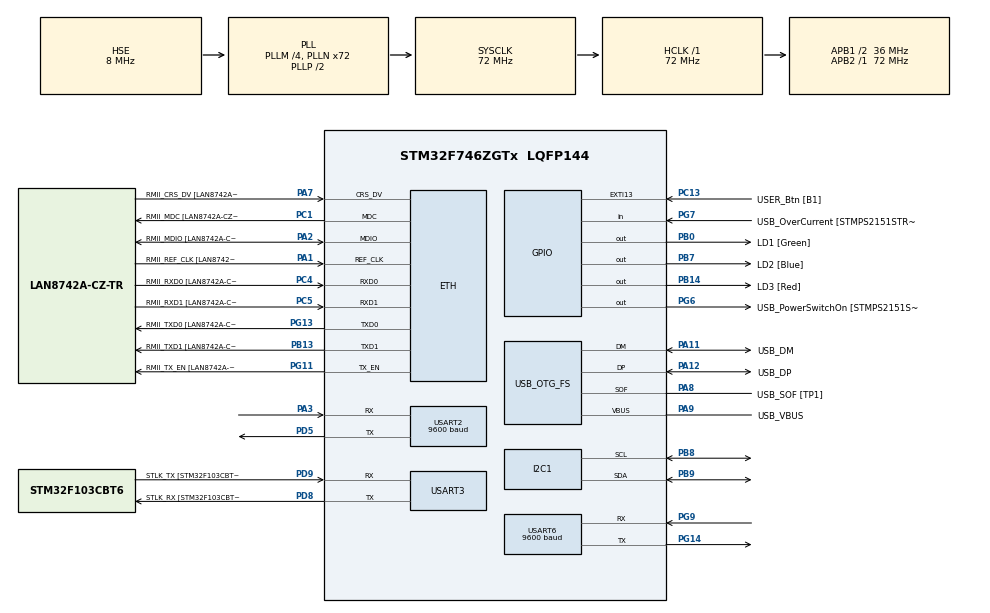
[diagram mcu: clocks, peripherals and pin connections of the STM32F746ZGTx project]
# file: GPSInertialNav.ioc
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CORTEX_M7.default_mode_Activation=1
ETH.MediaInterface=HAL_ETH_RMII_MODE
ETH.PHY_Name=LAN8742A_PHY_ADDRESS
ETH.PHY_Value=0
ETH.PhyAddress=0
I2C1.Timing=0x00808CD2
Mcu.Family=STM32F7
Mcu.Name=STM32F746ZGTx
Mcu.Package=LQFP144
NVIC.PriorityGroup=NVIC_PRIORITYGROUP_4
PA1.GPIO_Label=RMII_REF_CLK [LAN8742A-CZ-TR_REFCLK0]
PA1.Mode=RMII
PA1.Signal=ETH_REF_CLK
PA10.GPIO_Label=USB_ID
PA10.Signal=USB_OTG_FS_ID
PA11.GPIO_Label=USB_DM
PA11.Mode=Device_Only
PA11.Signal=USB_OTG_FS_DM
PA12.GPIO_Label=USB_DP
PA12.Mode=Device_Only
PA12.Signal=USB_OTG_FS_DP
PA13.GPIO_Label=TMS
PA13.Mode=Serial_Wire
PA13.Signal=SYS_JTMS-SWDIO
PA14.GPIO_Label=TCK
PA14.Mode=Serial_Wire
PA14.Signal=SYS_JTCK-SWCLK
PA2.GPIO_Label=RMII_MDIO [LAN8742A-CZ-TR_MDIO]
PA2.Mode=RMII
PA2.Signal=ETH_MDIO
PA3.Mode=Asynchronous
PA3.Signal=USART2_RX
PA7.GPIO_Label=RMII_CRS_DV [LAN8742A-CZ-TR_CRS_DV]
PA7.Mode=RMII
PA7.Signal=ETH_CRS_DV
PA8.GPIO_Label=USB_SOF [TP1]
PA8.Mode=Activate_SOF_FS
PA8.Signal=USB_OTG_FS_SOF
PA9.GPIO_Label=USB_VBUS
PA9.Mode=Activate_VBUS
PA9.Signal=USB_OTG_FS_VBUS
PB0.GPIO_Label=LD1 [Green]
PB0.Signal=GPIO_Output
PB13.GPIO_Label=RMII_TXD1 [LAN8742A-CZ-TR_TXD1]
PB13.Mode=RMII
PB13.Signal=ETH_TXD1
PB14.GPIO_Label=LD3 [Red]
PB14.Signal=GPIO_Output
PB3.GPIO_Label=SW0
PB3.Signal=SYS_JTDO-SWO
PB7.GPIO_Label=LD2 [Blue]
PB7.Signal=GPIO_Output
PB8.Mode=I2C
PB8.Signal=I2C1_SCL
PB9.Mode=I2C
PB9.Signal=I2C1_SDA
PC1.GPIO_Label=RMII_MDC [LAN8742A-CZ-TR_MDC]
PC1.Mode=RMII
PC1.Signal=ETH_MDC
PC13.GPIO_Label=USER_Btn [B1]
PC13.Signal=GPXTI13
PC14/OSC32_IN.Mode=LSE-External-Oscillator
PC14/OSC32_IN.Signal=RCC_OSC32_IN
PC15/OSC32_OUT.Mode=LSE-External-Oscillator
PC15/OSC32_OUT.Signal=RCC_OSC32_OUT
PC4.GPIO_Label=RMII_RXD0 [LAN8742A-CZ-TR_RXD0]
PC4.Mode=RMII
PC4.Signal=ETH_RXD0
PC5.GPIO_Label=RMII_RXD1 [LAN8742A-CZ-TR_RXD1]
PC5.Mode=RMII
PC5.Signal=ETH_RXD1
PD5.Mode=Asynchronous
PD5.Signal=USART2_TX
PD8.GPIO_Label=STLK_RX [STM32F103CBT6_PA3]
PD8.GPIO_PuPd=GPIO_PULLUP
PD8.Mode=Asynchronous
PD8.Signal=USART3_TX
PD9.GPIO_Label=STLK_TX [STM32F103CBT6_PA2]
PD9.GPIO_PuPd=GPIO_PULLUP
PD9.Mode=Asynchronous
PD9.Signal=USART3_RX
PG11.GPIO_Label=RMII_TX_EN [LAN8742A-CZ-TR_TXEN]
PG11.Mode=RMII
PG11.Signal=ETH_TX_EN
PG13.GPIO_Label=RMII_TXD0 [LAN8742A-CZ-TR_TXD0]
PG13.Mode=RMII
PG13.Signal=ETH_TXD0
PG14.Mode=Asynchronous
PG14.Signal=USART6_TX
PG6.GPIO_Label=USB_PowerSwitchOn [STMPS2151STR_EN]
PG6.Signal=GPIO_Output
PG7.GPIO_Label=USB_OverCurrent [STMPS2151STR_FAULT]
PG7.Signal=GPIO_Input
PG9.Mode=Asynchronous
PG9.Signal=USART6_RX
PH0/OSC_IN.GPIO_Label=MCO [STM32F103CBT6_PA8]
PH0/OSC_IN.Mode=HSE-External-Clock-Source
PH0/OSC_IN.Signal=RCC_OSC_IN
PH1/OSC_OUT.Mode=HSE-External-Clock-Source
PH1/OSC_OUT.Signal=RCC_OSC_OUT
ProjectManager.HeapSize=0x200
ProjectManager.StackSize=0x400
ProjectManager.TargetToolchain=STM32CubeIDE
RCC.48MHZClocksFreq_Value=24000000
RCC.AHBFreq_Value=72000000
RCC.APB1CLKDivider=RCC_HCLK_DIV2
RCC.APB1Freq_Value=36000000
RCC.APB1TimFreq_Value=72000000
RCC.APB2Freq_Value=72000000
RCC.APB2TimFreq_Value=72000000
RCC.CortexFreq_Value=72000000
RCC.HCLKFreq_Value=72000000
RCC.HSE_VALUE=8000000
RCC.HSI_VALUE=16000000
RCC.PLLM=4
RCC.PLLMUL=RCC_PLL_MUL9
RCC.PLLN=72
RCC.PLLQ=3
RCC.PRESCALERUSB=RCC_USBCLKSOURCE_PLL_DIV1_5
RCC.SYSCLKFreq_VALUE=72000000
RCC.SYSCLKSource=RCC_SYSCLKSOURCE_PLLCLK
RCC.SYSCLKSourceVirtual=RCC_SYSCLKSOURCE_PLLCLK
RCC.USBFreq_Value=48000000
RCC.VCOOutputFreq_Value=144000000
USART2.BaudRate=9600
USART2.VirtualMode-Asynchronous=VM_ASYNC
USART3.VirtualMode-Asynchronous=VM_ASYNC
USART6.BaudRate=9600
USART6.VirtualMode-Asynchronous=VM_ASYNC
USB_OTG_FS.VirtualMode=Device_Only
board=NUCLEO-F746ZG

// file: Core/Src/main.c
/* USER CODE BEGIN Header */
/**
  ******************************************************************************
  * @file           : main.c
  * @brief          : Main program body
  ******************************************************************************
  * @attention
  *
  * Copyright (c) 2026 STMicroelectronics.
  * All rights reserved.
  *
  * This software is licensed under terms that can be found in the LICENSE file
  * in the root directory of this software component.
  * If no LICENSE file comes with this software, it is provided AS-IS.
  *
  ******************************************************************************
  */
/* USER CODE END Header */
#include "main.h"
#include "string.h"

#if defined ( __ICCARM__ ) /*!< IAR Compiler */
#pragma location=0x2004c000
ETH_DMADescTypeDef  DMARxDscrTab[ETH_RX_DESC_CNT]; /* Ethernet Rx DMA Descriptors */
#pragma location=0x2004c0a0
ETH_DMADescTypeDef  DMATxDscrTab[ETH_TX_DESC_CNT]; /* Ethernet Tx DMA Descriptors */

#elif defined ( __CC_ARM )  /* MDK ARM Compiler */

__attribute__((at(0x2004c000))) ETH_DMADescTypeDef  DMARxDscrTab[ETH_RX_DESC_CNT]; /* Ethernet Rx DMA Descriptors */
__attribute__((at(0x2004c0a0))) ETH_DMADescTypeDef  DMATxDscrTab[ETH_TX_DESC_CNT]; /* Ethernet Tx DMA Descriptors */

#elif defined ( __GNUC__ ) /* GNU Compiler */

ETH_DMADescTypeDef DMARxDscrTab[ETH_RX_DESC_CNT] __attribute__((section(".RxDecripSection"))); /* Ethernet Rx DMA Descriptors */
ETH_DMADescTypeDef DMATxDscrTab[ETH_TX_DESC_CNT] __attribute__((section(".TxDecripSection")));   /* Ethernet Tx DMA Descriptors */
#endif

ETH_TxPacketConfig TxConfig;

ETH_HandleTypeDef heth;

I2C_HandleTypeDef hi2c1;

UART_HandleTypeDef huart2;
UART_HandleTypeDef huart3;
UART_HandleTypeDef huart6;

PCD_HandleTypeDef hpcd_USB_OTG_FS;

void SystemClock_Config(void);
static void MPU_Config(void);
static void MX_GPIO_Init(void);
static void MX_ETH_Init(void);
static void MX_I2C1_Init(void);
static void MX_USART2_UART_Init(void);
static void MX_USART3_UART_Init(void);
static void MX_USB_OTG_FS_PCD_Init(void);
static void MX_USART6_UART_Init(void);

/* USER CODE BEGIN 0 */
#include <stdio.h>
#define MPU6050_ADDR (0x68 << 1)

extern UART_HandleTypeDef huart3; // Change 'huart2' to match your enabled UART instance

#ifdef __GNUC__
  #define PUTCHAR_PROTOTYPE int __io_putchar(int ch)
#else
  #define PUTCHAR_PROTOTYPE int fputc(int ch, FILE *f)
#endif

PUTCHAR_PROTOTYPE
{
  // Send 1 character over the hardware UART with a 10ms timeout
  HAL_UART_Transmit(&huart3, (uint8_t *)&ch, 1, 10);

  return ch;
}

typedef struct {
    float gyroX, gyroY, gyroZ;
} GyroCalibration;
GyroCalibration gyroCal;   // add this line

GyroCalibration calibrateMPU(void){
	float gyroX = 0;
	float gyroY = 0;
	float gyroZ = 0;
	uint8_t buffer[6];
	int16_t rawX, rawY, rawZ;
	for(int i = 0; i < 201;i++){
		HAL_I2C_Mem_Read(&hi2c1, MPU6050_ADDR, 0x43, 1, buffer, 6, 100);

		    rawX = (int16_t)(buffer[0] << 8 | buffer[1]);
		    rawY = (int16_t)(buffer[2] << 8 | buffer[3]);
		    rawZ = (int16_t)(buffer[4] << 8 | buffer[5]);
		    gyroX += rawX / 131.0f;
		    gyroY += rawY / 131.0f;
		    gyroZ += rawZ / 131.0f;
		    HAL_Delay(5);

	}
	GyroCalibration cal;
	cal.gyroX = gyroX / 201.0f;
	cal.gyroY = gyroY / 201.0f;
	cal.gyroZ = gyroZ / 201.0f;
	return cal;

}

void getGyro(){
	  uint8_t reg_gyroX_out_H = 0x43;
	  uint8_t gyroXBuffer[2];
	  int16_t rawGyroX;

	  uint8_t reg_gyroY_out_H = 0x45;
	  uint8_t gyroYBuffer[2];
	  int16_t rawGyroY;

	  uint8_t reg_gyroZ_out_H = 0x47;
	  uint8_t gyroZBuffer[2];
	  int16_t rawGyroZ;

		  //gyro
		  HAL_I2C_Mem_Read(&hi2c1,MPU6050_ADDR, reg_gyroX_out_H,1,gyroXBuffer,2,100);
		  HAL_I2C_Mem_Read(&hi2c1,MPU6050_ADDR, reg_gyroY_out_H,1,gyroYBuffer,2,100);
		  HAL_I2C_Mem_Read(&hi2c1,MPU6050_ADDR, reg_gyroZ_out_H,1,gyroZBuffer,2,100);
		  rawGyroX = (uint16_t)(gyroXBuffer[0]<<8|gyroXBuffer[1]);
		  rawGyroY = (uint16_t)(gyroYBuffer[0]<<8|gyroYBuffer[1]);
		  rawGyroZ = (uint16_t)(gyroZBuffer[0]<<8|gyroZBuffer[1]);
		  float gyro_X = rawGyroX / 131.0f - gyroCal.gyroX;
		  float gyro_Y = rawGyroY / 131.0f - gyroCal.gyroY;
		  float gyro_Z = rawGyroZ / 131.0f - gyroCal.gyroZ;

		  printf("Gyro X: %f\r\n", gyro_X);
		  printf("Gyro Y: %f\r\n", gyro_Y);
		  printf("Gyro Z: %f\r\n", gyro_Z);
		  HAL_Delay(100);
}

void getAccel(){

	  uint8_t reg_accelX_out_H = 0x3B;
	  uint8_t accelXBuffer[2];
	  int16_t rawaccelX;

	  uint8_t reg_accelY_out_H = 0x3D;
	  uint8_t accelYBuffer[2];
	  int16_t rawaccelY;

	  uint8_t reg_accelZ_out_H = 0x3F;
	  uint8_t accelZBuffer[2];
	  int16_t rawaccelZ;
	  //setup rest of gyro

		  //accel
		  HAL_I2C_Mem_Read(&hi2c1,MPU6050_ADDR, reg_accelX_out_H,1,accelXBuffer,2,100);
		  HAL_I2C_Mem_Read(&hi2c1,MPU6050_ADDR, reg_accelY_out_H,1,accelYBuffer,2,100);
		  HAL_I2C_Mem_Read(&hi2c1,MPU6050_ADDR, reg_accelZ_out_H,1,accelZBuffer,2,100);
		  rawaccelX = (uint16_t)(accelXBuffer[0]<<8|accelXBuffer[1]);
		  rawaccelY = (uint16_t)(accelYBuffer[0]<<8|accelYBuffer[1]);
		  rawaccelZ = (uint16_t)(accelZBuffer[0]<<8|accelZBuffer[1]);
		  float accel_X = rawaccelX / 16384.0f;
		  float accel_Y = rawaccelY / 16384.0f;
		  float accel_Z = rawaccelZ / 16384.0f;

		  printf("Accel X: %f\r\n", accel_X);
		  printf("Accel Y: %f\r\n", accel_Y);
		  printf("Accel Z: %f\r\n", accel_Z);
		  HAL_Delay(100);

}

/* USER CODE END 0 */

int main(void)
{

  /* MPU Configuration--------------------------------------------------------*/
  MPU_Config();

  /* MCU Configuration--------------------------------------------------------*/

  /* Reset of all peripherals, Initializes the Flash interface and the Systick. */
  HAL_Init();

  /* Configure the system clock */
  SystemClock_Config();

  /* Initialize all configured peripherals */
  MX_GPIO_Init();
  MX_ETH_Init();
  MX_I2C1_Init();
  MX_USART2_UART_Init();
  MX_USART3_UART_Init();
  MX_USB_OTG_FS_PCD_Init();
  MX_USART6_UART_Init();
  /* USER CODE BEGIN 2 */
  /* USER CODE BEGIN 2 */
  uint8_t wake_cmd = 0x00;
  HAL_I2C_Mem_Write(&hi2c1, MPU6050_ADDR, 0x6B, 1, &wake_cmd, 1, 100);
  HAL_Delay(100);

  printf("Calibrating, keep still...\r\n");
  gyroCal = calibrateMPU();
  printf("Offsets: %f %f %f\r\n", gyroCal.gyroX, gyroCal.gyroY, gyroCal.gyroZ);
  /* USER CODE END 2 */

  /* Infinite loop */
  /* USER CODE BEGIN WHILE */

  //setup rest of gyro

  while (1)
  {
    /* USER CODE END WHILE */

    /* USER CODE BEGIN 3 */

	  getAccel();
	  getGyro();
	  HAL_Delay(100);

  }
  /* USER CODE END 3 */
}

void SystemClock_Config(void)
{
  RCC_OscInitTypeDef RCC_OscInitStruct = {0};
  RCC_ClkInitTypeDef RCC_ClkInitStruct = {0};

  /** Configure LSE Drive Capability
  */
  HAL_PWR_EnableBkUpAccess();

  /** Configure the main internal regulator output voltage
  */
  __HAL_RCC_PWR_CLK_ENABLE();
  __HAL_PWR_VOLTAGESCALING_CONFIG(PWR_REGULATOR_VOLTAGE_SCALE3);

  /** Initializes the RCC Oscillators according to the specified parameters
  * in the RCC_OscInitTypeDef structure.
  */
  RCC_OscInitStruct.OscillatorType = RCC_OSCILLATORTYPE_HSE;
  RCC_OscInitStruct.HSEState = RCC_HSE_BYPASS;
  RCC_OscInitStruct.PLL.PLLState = RCC_PLL_ON;
  RCC_OscInitStruct.PLL.PLLSource = RCC_PLLSOURCE_HSE;
  RCC_OscInitStruct.PLL.PLLM = 4;
  RCC_OscInitStruct.PLL.PLLN = 72;
  RCC_OscInitStruct.PLL.PLLP = RCC_PLLP_DIV2;
  RCC_OscInitStruct.PLL.PLLQ = 3;
  if (HAL_RCC_OscConfig(&RCC_OscInitStruct) != HAL_OK)
  {
    Error_Handler();
  }

  /** Initializes the CPU, AHB and APB buses clocks
  */
  RCC_ClkInitStruct.ClockType = RCC_CLOCKTYPE_HCLK|RCC_CLOCKTYPE_SYSCLK
                              |RCC_CLOCKTYPE_PCLK1|RCC_CLOCKTYPE_PCLK2;
  RCC_ClkInitStruct.SYSCLKSource = RCC_SYSCLKSOURCE_PLLCLK;
  RCC_ClkInitStruct.AHBCLKDivider = RCC_SYSCLK_DIV1;
  RCC_ClkInitStruct.APB1CLKDivider = RCC_HCLK_DIV2;
  RCC_ClkInitStruct.APB2CLKDivider = RCC_HCLK_DIV1;

  if (HAL_RCC_ClockConfig(&RCC_ClkInitStruct, FLASH_LATENCY_2) != HAL_OK)
  {
    Error_Handler();
  }
}

static void MX_ETH_Init(void)
{

   static uint8_t MACAddr[6];

  heth.Instance = ETH;
  MACAddr[0] = 0x00;
  MACAddr[1] = 0x80;
  MACAddr[2] = 0xE1;
  MACAddr[3] = 0x00;
  MACAddr[4] = 0x00;
  MACAddr[5] = 0x00;
  heth.Init.MACAddr = &MACAddr[0];
  heth.Init.MediaInterface = HAL_ETH_RMII_MODE;
  heth.Init.TxDesc = DMATxDscrTab;
  heth.Init.RxDesc = DMARxDscrTab;
  heth.Init.RxBuffLen = 1524;

  if (HAL_ETH_Init(&heth) != HAL_OK)
  {
    Error_Handler();
  }

  memset(&TxConfig, 0 , sizeof(ETH_TxPacketConfig));
  TxConfig.Attributes = ETH_TX_PACKETS_FEATURES_CSUM | ETH_TX_PACKETS_FEATURES_CRCPAD;
  TxConfig.ChecksumCtrl = ETH_CHECKSUM_IPHDR_PAYLOAD_INSERT_PHDR_CALC;
  TxConfig.CRCPadCtrl = ETH_CRC_PAD_INSERT;

}

static void MX_I2C1_Init(void)
{

  hi2c1.Instance = I2C1;
  hi2c1.Init.Timing = 0x00808CD2;
  hi2c1.Init.OwnAddress1 = 0;
  hi2c1.Init.AddressingMode = I2C_ADDRESSINGMODE_7BIT;
  hi2c1.Init.DualAddressMode = I2C_DUALADDRESS_DISABLE;
  hi2c1.Init.OwnAddress2 = 0;
  hi2c1.Init.OwnAddress2Masks = I2C_OA2_NOMASK;
  hi2c1.Init.GeneralCallMode = I2C_GENERALCALL_DISABLE;
  hi2c1.Init.NoStretchMode = I2C_NOSTRETCH_DISABLE;
  if (HAL_I2C_Init(&hi2c1) != HAL_OK)
  {
    Error_Handler();
  }

  /** Configure Analogue filter
  */
  if (HAL_I2CEx_ConfigAnalogFilter(&hi2c1, I2C_ANALOGFILTER_ENABLE) != HAL_OK)
  {
    Error_Handler();
  }

  /** Configure Digital filter
  */
  if (HAL_I2CEx_ConfigDigitalFilter(&hi2c1, 0) != HAL_OK)
  {
    Error_Handler();
  }

}

static void MX_USART2_UART_Init(void)
{

  huart2.Instance = USART2;
  huart2.Init.BaudRate = 9600;
  huart2.Init.WordLength = UART_WORDLENGTH_8B;
  huart2.Init.StopBits = UART_STOPBITS_1;
  huart2.Init.Parity = UART_PARITY_NONE;
  huart2.Init.Mode = UART_MODE_TX_RX;
  huart2.Init.HwFlowCtl = UART_HWCONTROL_NONE;
  huart2.Init.OverSampling = UART_OVERSAMPLING_16;
  huart2.Init.OneBitSampling = UART_ONE_BIT_SAMPLE_DISABLE;
  huart2.AdvancedInit.AdvFeatureInit = UART_ADVFEATURE_NO_INIT;
  if (HAL_UART_Init(&huart2) != HAL_OK)
  {
    Error_Handler();
  }

}

static void MX_USART3_UART_Init(void)
{

  huart3.Instance = USART3;
  huart3.Init.BaudRate = 115200;
  huart3.Init.WordLength = UART_WORDLENGTH_8B;
  huart3.Init.StopBits = UART_STOPBITS_1;
  huart3.Init.Parity = UART_PARITY_NONE;
  huart3.Init.Mode = UART_MODE_TX_RX;
  huart3.Init.HwFlowCtl = UART_HWCONTROL_NONE;
  huart3.Init.OverSampling = UART_OVERSAMPLING_16;
  huart3.Init.OneBitSampling = UART_ONE_BIT_SAMPLE_DISABLE;
  huart3.AdvancedInit.AdvFeatureInit = UART_ADVFEATURE_NO_INIT;
  if (HAL_UART_Init(&huart3) != HAL_OK)
  {
    Error_Handler();
  }

}

static void MX_USART6_UART_Init(void)
{

  huart6.Instance = USART6;
  huart6.Init.BaudRate = 9600;
  huart6.Init.WordLength = UART_WORDLENGTH_8B;
  huart6.Init.StopBits = UART_STOPBITS_1;
  huart6.Init.Parity = UART_PARITY_NONE;
  huart6.Init.Mode = UART_MODE_TX_RX;
  huart6.Init.HwFlowCtl = UART_HWCONTROL_NONE;
  huart6.Init.OverSampling = UART_OVERSAMPLING_16;
  huart6.Init.OneBitSampling = UART_ONE_BIT_SAMPLE_DISABLE;
  huart6.AdvancedInit.AdvFeatureInit = UART_ADVFEATURE_NO_INIT;
  if (HAL_UART_Init(&huart6) != HAL_OK)
  {
    Error_Handler();
  }

}

static void MX_USB_OTG_FS_PCD_Init(void)
{

  hpcd_USB_OTG_FS.Instance = USB_OTG_FS;
  hpcd_USB_OTG_FS.Init.dev_endpoints = 6;
  hpcd_USB_OTG_FS.Init.speed = PCD_SPEED_FULL;
  hpcd_USB_OTG_FS.Init.dma_enable = DISABLE;
  hpcd_USB_OTG_FS.Init.phy_itface = PCD_PHY_EMBEDDED;
  hpcd_USB_OTG_FS.Init.Sof_enable = ENABLE;
  hpcd_USB_OTG_FS.Init.low_power_enable = DISABLE;
  hpcd_USB_OTG_FS.Init.lpm_enable = DISABLE;
  hpcd_USB_OTG_FS.Init.vbus_sensing_enable = ENABLE;
  hpcd_USB_OTG_FS.Init.use_dedicated_ep1 = DISABLE;
  if (HAL_PCD_Init(&hpcd_USB_OTG_FS) != HAL_OK)
  {
    Error_Handler();
  }

}

static void MX_GPIO_Init(void)
{
  GPIO_InitTypeDef GPIO_InitStruct = {0};

  /* GPIO Ports Clock Enable */
  __HAL_RCC_GPIOC_CLK_ENABLE();
  __HAL_RCC_GPIOH_CLK_ENABLE();
  __HAL_RCC_GPIOA_CLK_ENABLE();
  __HAL_RCC_GPIOB_CLK_ENABLE();
  __HAL_RCC_GPIOD_CLK_ENABLE();
  __HAL_RCC_GPIOG_CLK_ENABLE();

  /*Configure GPIO pin Output Level */
  HAL_GPIO_WritePin(GPIOB, LD1_Pin|LD3_Pin|LD2_Pin, GPIO_PIN_RESET);

  /*Configure GPIO pin Output Level */
  HAL_GPIO_WritePin(USB_PowerSwitchOn_GPIO_Port, USB_PowerSwitchOn_Pin, GPIO_PIN_RESET);

  /*Configure GPIO pin : USER_Btn_Pin */
  GPIO_InitStruct.Pin = USER_Btn_Pin;
  GPIO_InitStruct.Mode = GPIO_MODE_IT_RISING;
  GPIO_InitStruct.Pull = GPIO_NOPULL;
  HAL_GPIO_Init(USER_Btn_GPIO_Port, &GPIO_InitStruct);

  /*Configure GPIO pins : LD1_Pin LD3_Pin LD2_Pin */
  GPIO_InitStruct.Pin = LD1_Pin|LD3_Pin|LD2_Pin;
  GPIO_InitStruct.Mode = GPIO_MODE_OUTPUT_PP;
  GPIO_InitStruct.Pull = GPIO_NOPULL;
  GPIO_InitStruct.Speed = GPIO_SPEED_FREQ_LOW;
  HAL_GPIO_Init(GPIOB, &GPIO_InitStruct);

  /*Configure GPIO pin : USB_PowerSwitchOn_Pin */
  GPIO_InitStruct.Pin = USB_PowerSwitchOn_Pin;
  GPIO_InitStruct.Mode = GPIO_MODE_OUTPUT_PP;
  GPIO_InitStruct.Pull = GPIO_NOPULL;
  GPIO_InitStruct.Speed = GPIO_SPEED_FREQ_LOW;
  HAL_GPIO_Init(USB_PowerSwitchOn_GPIO_Port, &GPIO_InitStruct);

  /*Configure GPIO pin : USB_OverCurrent_Pin */
  GPIO_InitStruct.Pin = USB_OverCurrent_Pin;
  GPIO_InitStruct.Mode = GPIO_MODE_INPUT;
  GPIO_InitStruct.Pull = GPIO_NOPULL;
  HAL_GPIO_Init(USB_OverCurrent_GPIO_Port, &GPIO_InitStruct);

}

 /* MPU Configuration */

void MPU_Config(void)
{
  MPU_Region_InitTypeDef MPU_InitStruct = {0};

  /* Disables the MPU */
  HAL_MPU_Disable();

  /** Initializes and configures the Region and the memory to be protected
  */
  MPU_InitStruct.Enable = MPU_REGION_ENABLE;
  MPU_InitStruct.Number = MPU_REGION_NUMBER0;
  MPU_InitStruct.BaseAddress = 0x0;
  MPU_InitStruct.Size = MPU_REGION_SIZE_4GB;
  MPU_InitStruct.SubRegionDisable = 0x87;
  MPU_InitStruct.TypeExtField = MPU_TEX_LEVEL0;
  MPU_InitStruct.AccessPermission = MPU_REGION_NO_ACCESS;
  MPU_InitStruct.DisableExec = MPU_INSTRUCTION_ACCESS_DISABLE;
  MPU_InitStruct.IsShareable = MPU_ACCESS_SHAREABLE;
  MPU_InitStruct.IsCacheable = MPU_ACCESS_NOT_CACHEABLE;
  MPU_InitStruct.IsBufferable = MPU_ACCESS_NOT_BUFFERABLE;

  HAL_MPU_ConfigRegion(&MPU_InitStruct);
  /* Enables the MPU */
  HAL_MPU_Enable(MPU_PRIVILEGED_DEFAULT);

}

void Error_Handler(void)
{
  __disable_irq();
  while (1)
  {
  }
}
